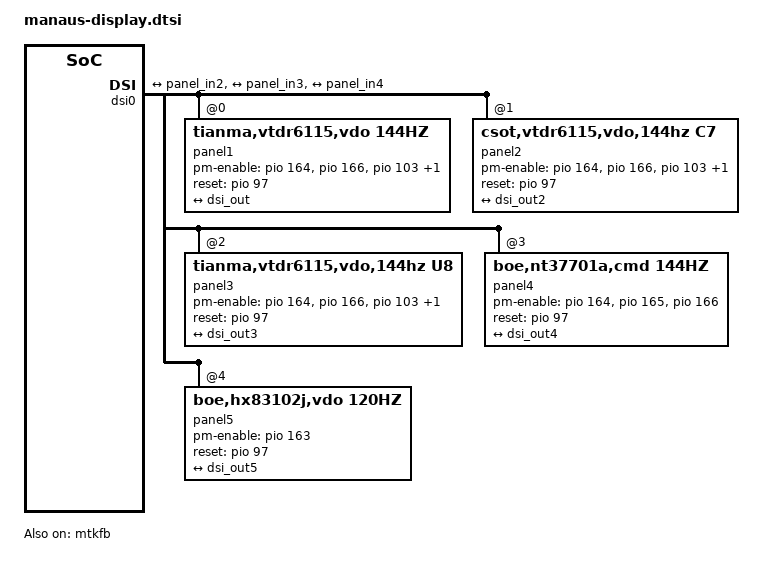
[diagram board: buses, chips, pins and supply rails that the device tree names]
/* Copyright (c) 2021, The Linux Foundation. All rights reserved.
 *
 * This program is free software; you can redistribute it and/or modify
 * it under the terms of the GNU General Public License version 2 and
 * only version 2 as published by the Free Software Foundation.
 *
 * This program is distributed in the hope that it will be useful,
 * but WITHOUT ANY WARRANTY; without even the implied warranty of
 * MERCHANTABILITY or FITNESS FOR A PARTICULAR PURPOSE.  See the
 * GNU General Public License for more details.
 */

&dispsys_config {
	force_dyn_mipi_change;
};

&mtk_leds {
	/delete-property/ compatible;
	/delete-property/ led_mode;
	/delete-property/ gate_enable;
	/delete-property/ pwm_config;

	compatible = "mediatek,i2c-leds";
	backlight {
		label = "lcd-backlight";
		led_mode = <6>;
		gate_enable = <1>;
		max-brightness = <4095>;
		max-hw-brightness = <4095>;
		default-brightness = <2577>;
		pwm_config = <0 1 0 0 0>;
	};
};

&mtkfb {
	/delete-property/ pinctrl-names;
	/delete-property/ pinctrl-0;
	/delete-property/ pinctrl-1;
	/delete-property/ pinctrl-2;
	/delete-property/ pinctrl-3;
	/delete-property/ pinctrl-4;
	/delete-property/ pinctrl-5;
	/delete-property/ pinctrl-6;

	pinctrl-names = "lcm_rst_out0_gpio", "mode_te_te",
		"oled_vci_en_gpio", "oled_vio_en_gpio",
		"oled_dvdd_en0_gpio", "oled_dvdd_en1_gpio";
	pinctrl-0 = <&mtkfb_pins_lcm_rst_out0_gpio>;
	pinctrl-1 = <&mtkfb_pins_lcm_dsi_te>;
	pinctrl-2 = <&mtkfb_pins_oled_vci_en>;
	pinctrl-3 = <&mtkfb_pins_oled_vio_en>;

	pinctrl-4 = <&mtkfb_pins_oled_avdd_en0>;
	pinctrl-5 = <&mtkfb_pins_oled_avdd_en1>;
	status = "okay";

	mmi,panel-on-delay = <20>;
};

&pio {
	mtkfb_pins_oled_vci_en: oled_vci_en_gpio {
		pins_cmd_dat {
			pinmux = <PINMUX_GPIO166__FUNC_GPIO166>;
			slew-rate = <1>;
			output-low;
		};
	};

	mtkfb_pins_oled_vio_en: oled_vio_en_gpio {
		pins_cmd_dat {
			pinmux = <PINMUX_GPIO164__FUNC_GPIO164>;
			slew-rate = <1>;
			output-low;
		};
	};

	mtkfb_pins_oled_avdd_en0: oled_dvdd_en0_gpio {
		pins_cmd_dat {
			pinmux = <PINMUX_GPIO103__FUNC_GPIO103>;
			slew-rate = <1>;
			output-low;
		};
	};

	mtkfb_pins_oled_avdd_en1: oled_dvdd_en1_gpio {
		pins_cmd_dat {
			pinmux = <PINMUX_GPIO165__FUNC_GPIO165>;
			slew-rate = <1>;
			output-low;
		};
	};

};

&panel1 {
	/delete-node/ port@0;
};

&dsi0 {
	status = "okay";
	#address-cells = <1>;
	#size-cells = <0>;

	panel1@0 {
		/delete-property/ compatible;
		/delete-property/ pm-enable-gpios;
		/delete-property/ reset-gpios;
		/delete-property/gate-ic;

		compatible = "tianma,vtdr6115,vdo,144hz";
		reg = <0>;
		pm-enable-gpios = <&pio 164 0>,
                          <&pio 166 0>,
                          <&pio 103 0>,
                          <&pio 165 0>;
		reset-gpios = <&pio 97 0>;
		pinctrl-names = "default";
		lhbm-enable;
		port {
			panel_in1: endpoint {
				remote-endpoint = <&dsi_out>;
			};
		};
	};

	panel2@1 {
		/delete-property/ compatible;
		/delete-property/ pm-enable-gpios;
		/delete-property/ reset-gpios;
		/delete-property/gate-ic;

		compatible = "csot,vtdr6115,vdo,144hz,c7";
		reg = <1>;
		pm-enable-gpios = <&pio 164 0>,
                          <&pio 166 0>,
                          <&pio 103 0>,
                          <&pio 165 0>;
		reset-gpios = <&pio 97 0>;
		pinctrl-names = "default";
		lhbm-enable;
		port {
			panel_in2: endpoint {
				remote-endpoint = <&dsi_out2>;
			};
		};
	};

	panel3@2 {
		/delete-property/ compatible;
		/delete-property/ pm-enable-gpios;
		/delete-property/ reset-gpios;
		/delete-property/gate-ic;

		compatible = "tianma,vtdr6115,vdo,144hz,u8";
		reg = <2>;
		pm-enable-gpios = <&pio 164 0>,
                          <&pio 166 0>,
                          <&pio 103 0>,
                          <&pio 165 0>;
		reset-gpios = <&pio 97 0>;
		pinctrl-names = "default";
		lhbm-enable;
		port {
			panel_in3: endpoint {
				remote-endpoint = <&dsi_out3>;
			};
		};
	};

	panel4@3 {
		/delete-property/ compatible;
		/delete-property/ pm-enable-gpios;
		/delete-property/ reset-gpios;
		/delete-property/gate-ic;

		compatible = "boe,nt37701a,cmd,144hz";
		reg = <3>;
		pm-enable-gpios = <&pio 164 0>,
                          <&pio 165 0>,
                          <&pio 166 0>;
		reset-gpios = <&pio 97 0>;
		pinctrl-names = "default";
		lhbm-enable;
		port {
			panel_in4: endpoint {
				remote-endpoint = <&dsi_out4>;
			};
		};
	};

	panel5@4 {
		compatible = "boe,hx83102j,vdo,120hz";
		reg = <4>;
		pm-enable-gpios = <&pio 163 0>;
		reset-gpios = <&pio 97 0>;
		gate-ic = <4831>;	/* RT4831A gate IC (bias + backlight via I2C) */
		pinctrl-names = "default";
		port {
			panel_in5: endpoint {
				remote-endpoint = <&dsi_out5>;
			};
		};
	};

	ports {
		port {
			// Matching the base DTB's #address-cells/#size-cells so DTC
			// can validate reg values when checking this overlay alone.
			#address-cells = <1>;
			#size-cells = <0>;
			dsi_out2: endpoint@1 {
				reg = <1>;
				remote-endpoint = <&panel_in2>;
			};
			dsi_out3: endpoint@2 {
				reg = <2>;
				remote-endpoint = <&panel_in3>;
			};
			dsi_out4: endpoint@3 {
				reg = <3>;
				remote-endpoint = <&panel_in4>;
			};
			dsi_out5: endpoint@4 {
				reg = <4>;
				remote-endpoint = <&panel_in5>;
			};
		};
	};
};
